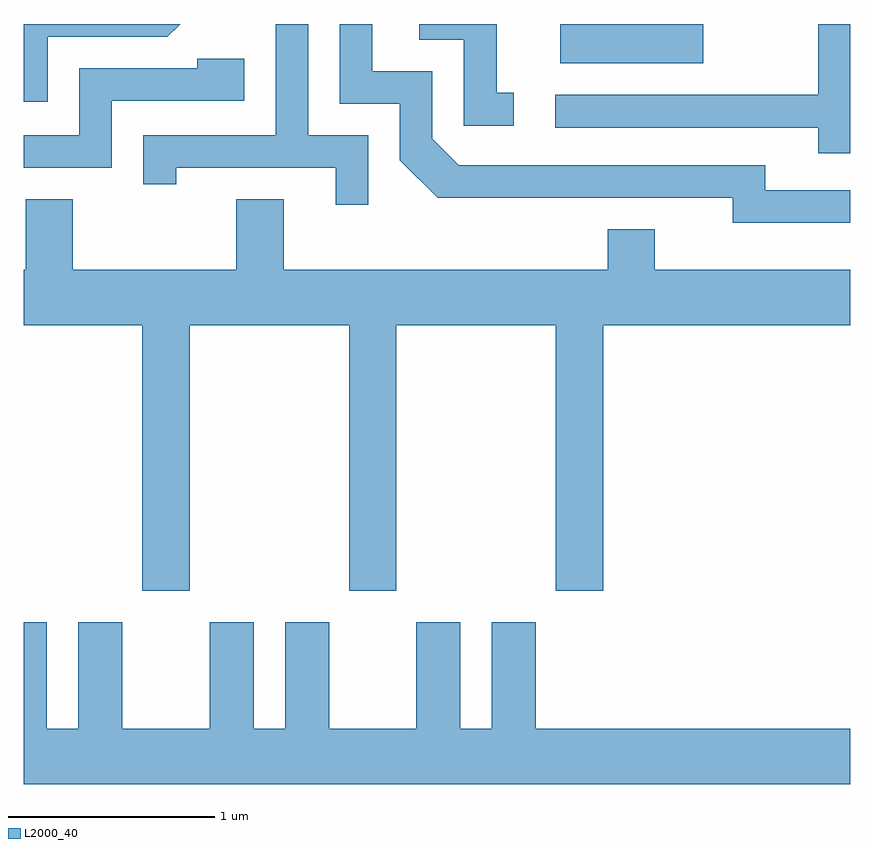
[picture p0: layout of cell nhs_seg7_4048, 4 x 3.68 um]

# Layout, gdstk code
import gdstk
lib = gdstk.Library(unit=1e-6, precision=1e-09)
def R(c, l, rs):  # rectangles x0, y0, x1, y1
    for r in rs: c.add(gdstk.rectangle(r[:2], r[2:], *l))
def P(c, l, *ps):  # polygons
    for p in ps: c.add(gdstk.Polygon(p, *l))
L2000_40 = (2000, 40)

nhs_seg7_4048 = lib.new_cell('nhs_seg7_4048')
R(nhs_seg7_4048, L2000_40, [(312.206,1680.061,312.899,1680.252)])
P(nhs_seg7_4048, L2000_40, [(311.279,1679.714),(310.989,1679.714),(310.989,1680.252),(310.831,1680.252),(310.831,1679.714),(310.191,1679.714),(310.191,1679.478),(310.349,1679.478),(310.349,1679.556),(311.121,1679.556),(311.121,1679.378),(311.279,1679.378)],
  [(313.611,1679.449),(313.199,1679.449),(313.199,1679.569),(311.717,1679.569),(311.589,1679.697),(311.589,1680.024),(311.299,1680.024),(311.299,1680.252),(311.141,1680.252),(311.141,1679.866),(311.431,1679.866),(311.431,1679.594),(311.614,1679.411),(313.041,1679.411),(313.041,1679.291),(313.611,1679.291)],
  [(311.983,1679.919),(311.899,1679.919),(311.899,1680.252),(311.526,1680.252),(311.526,1680.176),(311.741,1680.176),(311.741,1679.761),(311.983,1679.761)],
  [(309.729,1680.191),(310.307,1680.191),(310.368,1680.252),(309.611,1680.252),(309.611,1679.876),(309.729,1679.876)],
  [(313.611,1680.252),(313.456,1680.252),(313.456,1679.909),(312.183,1679.909),(312.183,1679.751),(313.456,1679.751),(313.456,1679.628),(313.611,1679.628)],
  [(310.039,1679.881),(310.679,1679.881),(310.679,1680.084),(310.451,1680.084),(310.451,1680.039),(309.881,1680.039),(309.881,1679.714),(309.611,1679.714),(309.611,1679.556),(310.039,1679.556)],
  [(310.869,1679.404),(310.641,1679.404),(310.641,1679.064),(309.849,1679.064),(309.849,1679.404),(309.621,1679.404),(309.621,1679.064),(309.611,1679.064),(309.611,1678.796),(310.186,1678.796),(310.186,1677.511),(310.414,1677.511),(310.414,1678.796),(311.186,1678.796),(311.186,1677.511),(311.414,1677.511),(311.414,1678.796),(312.186,1678.796),(312.186,1677.511),(312.414,1677.511),(312.414,1678.796),(313.611,1678.796),(313.611,1679.064),(312.664,1679.064),(312.664,1679.259),(312.436,1679.259),(312.436,1679.064),(310.869,1679.064)],
  [(313.611,1676.844),(312.089,1676.844),(312.089,1677.359),(311.876,1677.359),(311.876,1676.844),(311.724,1676.844),(311.724,1677.359),(311.511,1677.359),(311.511,1676.844),(311.089,1676.844),(311.089,1677.359),(310.876,1677.359),(310.876,1676.844),(310.724,1676.844),(310.724,1677.359),(310.511,1677.359),(310.511,1676.844),(310.089,1676.844),(310.089,1677.359),(309.876,1677.359),(309.876,1676.844),(309.724,1676.844),(309.724,1677.359),(309.611,1677.359),(309.611,1676.576),(313.611,1676.576)])

lib.write_gds('nhs_seg7_4048.gds')
